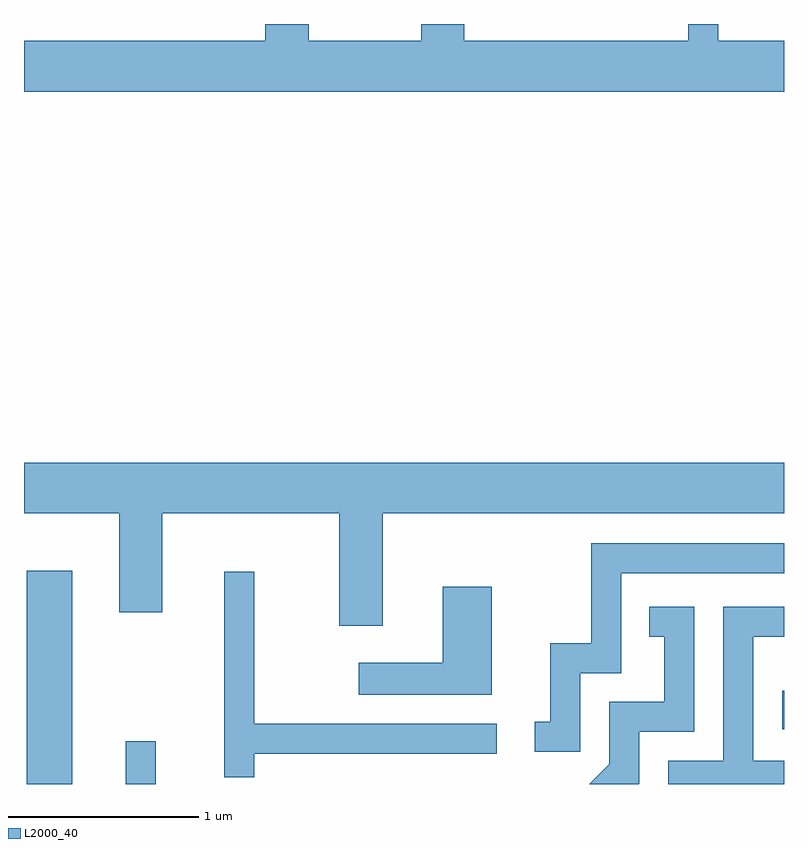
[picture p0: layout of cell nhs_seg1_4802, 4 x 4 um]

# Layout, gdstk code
import gdstk
lib = gdstk.Library(unit=1e-6, precision=1e-09)
def R(c, l, rs):  # rectangles x0, y0, x1, y1
    for r in rs: c.add(gdstk.rectangle(r[:2], r[2:], *l))
def P(c, l, *ps):  # polygons
    for p in ps: c.add(gdstk.Polygon(p, *l))
L2000_40 = (2000, 40)

nhs_seg1_4802 = lib.new_cell('nhs_seg1_4802')
R(nhs_seg1_4802, L2000_40, [(329.626,893.712,329.864,894.834), (330.146,893.712,330.304,893.938), (333.601,894.001,333.611,894.204)])
P(nhs_seg1_4802, L2000_40, [(333.611,897.624),(333.264,897.624),(333.264,897.712),(333.106,897.712),(333.106,897.624),(331.929,897.624),(331.929,897.712),(331.701,897.712),(331.701,897.624),(331.109,897.624),(331.109,897.712),(330.881,897.712),(330.881,897.624),(329.611,897.624),(329.611,897.356),(333.611,897.356)],
  [(331.499,895.136),(333.611,895.136),(333.611,895.404),(329.611,895.404),(329.611,895.136),(330.111,895.136),(330.111,894.616),(330.339,894.616),(330.339,895.136),(331.271,895.136),(331.271,894.546),(331.499,894.546)],
  [(332.539,894.296),(332.754,894.296),(332.754,894.821),(333.611,894.821),(333.611,894.979),(332.596,894.979),(332.596,894.454),(332.381,894.454),(332.381,894.039),(332.298,894.039),(332.298,893.881),(332.539,893.881)],
  [(330.824,893.871),(332.098,893.871),(332.098,894.029),(330.824,894.029),(330.824,894.828),(330.666,894.828),(330.666,893.748),(330.824,893.748)],
  [(332.074,894.749),(331.816,894.749),(331.816,894.349),(331.373,894.349),(331.373,894.181),(332.074,894.181)],
  [(332.849,893.714),(332.849,893.986),(333.139,893.986),(333.139,894.644),(332.903,894.644),(332.903,894.486),(332.981,894.486),(332.981,894.144),(332.691,894.144),(332.691,893.817),(332.587,893.712),(332.847,893.712)],
  [(333.611,893.834),(333.449,893.834),(333.449,894.486),(333.611,894.486),(333.611,894.644),(333.291,894.644),(333.291,893.834),(333.001,893.834),(333.001,893.712),(333.611,893.712)])

lib.write_gds('nhs_seg1_4802.gds')
